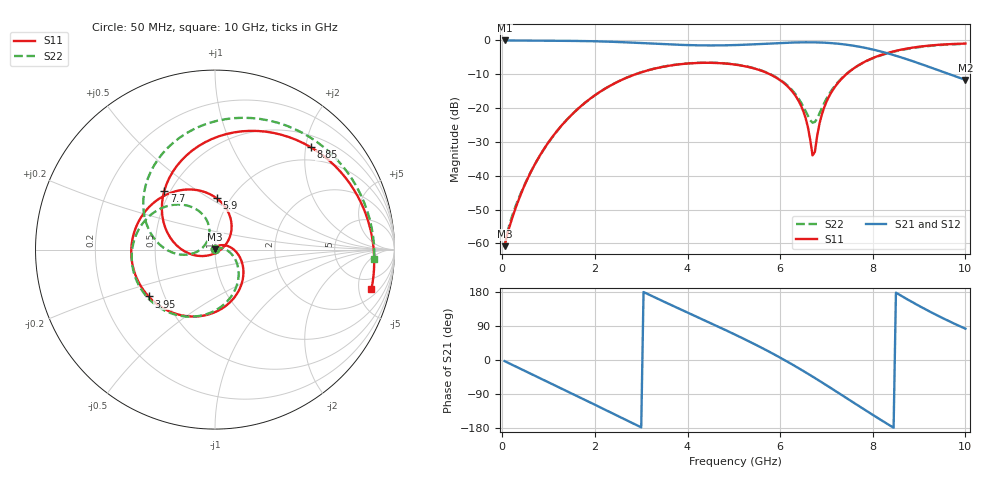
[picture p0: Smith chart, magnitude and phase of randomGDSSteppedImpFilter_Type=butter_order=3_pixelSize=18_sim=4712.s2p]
! freq	dB(S11)	phase(S11)	dB(S12)	phase(S12)
!  dB(S21)	phase(S21)	dB(S22)	phase(S22)
!S-par simulation data
#  GHz  S  DB  R 50
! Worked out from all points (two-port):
!   200 points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, 50 MHz to 10 GHz, reference 50 ohm
!   highest |S21| = -0.01 dB at 50 MHz (marker M1); lowest = -11.7 dB at 10 GHz (marker M2)
!   |S21| within 3 dB of the highest: start of sweep to 8.1 GHz
!   lowest |S11| = -60.8 dB at 50 MHz (marker M3), VSWR 1.00, Z = 50.1 + j0.0763 ohm
!   |S11| at or under -10 dB: start of sweep to 2.876 GHz; 5.779 GHz to 7.428 GHz (1.649 GHz wide, 25 % of centre)
!   |S22| runs from -60.6 to -1.0 dB; largest |S21 - S12| = 0
!   S11 on the Smith chart (normalised r, x): 50 MHz: 1.00, +0.00; 3.95 GHz: 0.41, -0.27; 5.9 GHz: 0.86, +0.54; 7.7 GHz: 0.46, +0.37; 8.85 GHz: 0.72, +2.10; 10 GHz: 2.97, -6.80
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0.05  -60.79 56.7  -0.01 -3.0  -0.01 -3.0  -60.61 55.0
0.3  -49.05 75.4  -0.03 -17.6  -0.03 -17.6  -48.51 50.4
0.7  -36.68 64.4  -0.05 -41.0  -0.05 -41.0  -36.68 32.0
1.25  -25.61 29.1  -0.10 -73.4  -0.10 -73.4  -25.66 4.4
1.75  -18.82 -4.4  -0.18 -103.1  -0.18 -103.1  -18.83 -21.9
2.6  -11.52 -60.3  -0.52 -154.1  -0.52 -154.1  -11.51 -68.0
3.4  -7.99 -111.1  -1.04 159.1  -1.04 159.1  -7.95 -111.0
3.95  -6.88 -144.8  -1.35 128.0  -1.35 128.0  -6.84 -139.3
4.5  -6.61 -178.2  -1.47 97.1  -1.47 97.1  -6.56 -166.8
5.05  -7.18 147.3  -1.36 65.7  -1.36 65.7  -7.12 165.7
5.9  -10.88 88.1  -0.83 12.9  -0.83 12.9  -10.76 122.2
6.45  -19.25 40.6  -0.56 -25.3  -0.56 -25.3  -18.32 105.0
6.6  -25.67 17.8  -0.54 -36.3  -0.54 -36.3  -22.33 117.4
6.7  -33.98 -37.6  -0.55 -43.7  -0.55 -43.7  -24.31 142.6
6.75  -32.91 -99.3  -0.57 -47.5  -0.57 -47.5  -24.08 158.5
6.9  -21.91 -153.3  -0.63 -58.9  -0.63 -58.9  -20.00 -173.4
7.05  -16.69 -171.5  -0.74 -70.5  -0.74 -70.5  -16.03 -169.7
7.7  -7.27 130.7  -1.83 -121.5  -1.83 -121.5  -7.28 155.1
8.35  -3.58 80.6  -3.92 -171.3  -3.92 -171.3  -3.68 107.4
8.85  -2.15 47.0  -6.07 152.9  -6.07 152.9  -2.27 70.9
9.45  -1.26 12.5  -8.97 114.2  -8.97 114.2  -1.36 30.0
10  -0.92 -14.1  -11.65 82.6  -11.65 82.6  -1.02 -3.5
